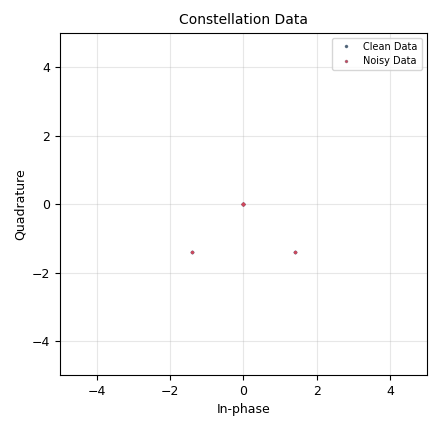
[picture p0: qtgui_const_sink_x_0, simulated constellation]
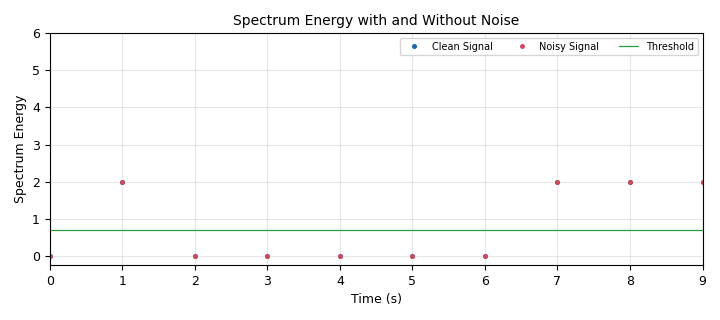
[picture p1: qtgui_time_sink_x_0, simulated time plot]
options:
  parameters:
    author: Osaze Shears
    generate_options: qt_gui
    id: dfr
    output_language: python
    title: Spectrum Energy
  states: {}

blocks:
- name: noise_level
  id: variable_qtgui_range
  parameters:
    comment: Noise Level Slider
    gui_hint: 0,0
    label: Noise Level
    start: '0'
    step: '0.01'
    stop: '5'
    value: '0'
  states: {}
- name: qpsk_constellation
  id: variable_constellation
  parameters:
    comment: QPSK Constellation
    const_points: '[-1-1j, -1+1j, 1+1j, 1-1j, 0,0,0,0]'
    dims: '1'
    normalization: digital.constellation.AMPLITUDE_NORMALIZATION
    precision: '8'
    rot_sym: '4'
    sym_map: '[0, 1, 3, 2, 4,5,6,7]'
    type: calcdist
  states: {}
- name: samp_rate
  id: variable
  parameters:
    value: '1'
  states: {}
- name: analog_const_source_x_0
  id: analog_const_source_x
  parameters:
    comment: Draw Threshold on the Time Sink
    const: '0.705'
    type: float
  states: {}
- name: analog_noise_source_x_0
  id: analog_noise_source_x
  parameters:
    amp: noise_level
    comment: Additive White Gaussian Noise (AWGN)
    noise_type: analog.GR_GAUSSIAN
    seed: '0'
    type: complex
  states: {}
- name: analog_random_source_x_0
  id: analog_random_source_x
  parameters:
    comment: 50/50 Chance of Data Transmission
    max: '8'
    min: '0'
    num_samps: '1000'
    repeat: 'True'
    type: byte
  states: {}
- name: blocks_add_xx_0
  id: blocks_add_xx
  parameters:
    comment: Add AWGN to Data Data
    type: complex
  states: {}
- name: digital_constellation_encoder_bc_1
  id: digital_constellation_encoder_bc
  parameters:
    comment: QPSK Modulator
    constellation: qpsk_constellation
  states: {}
- name: epy_block_1
  id: epy_block
  parameters:
    _source_code: "\"\"\"\nEmbedded Python Blocks:\n\nEach time this file is saved, GRC will instantiate the first class it finds\nto get ports and parameters of your block. The arguments to __init__  will\nbe the parameters. All of them are required to have default values!\n\"\"\"\n\nimport numpy as np\nfrom gnuradio import gr\n\n\nclass blk(gr.sync_block):  # other base classes are basic_block, decim_block, interp_block\n    \"\"\"Spectrum Energy - Record Spectrum Energy\"\"\"\n\n    def __init__(self):  # only default arguments here\n        \"\"\"arguments to this function show up as parameters in GRC\"\"\"\n        gr.sync_block.__init__(\n            self,\n            name='Spectrum Energy Block',   # will show up in GRC\n            in_sig=[np.complex64],\n            out_sig=[np.float32]\n        )\n        \n\n        \n\n    def work(self, input_items, output_items):\n        \"\"\"example: multiply with constant\"\"\"\n\n        i_data_norm = np.real(input_items[0])\n        q_data_norm = np.imag(input_items[0])\n        x = np.sqrt(np.power(i_data_norm,2) + np.power(q_data_norm,2))\n        output_items[0][:] = x\n\n        return len(output_items[0])\n\n"
    comment: Calculate Spectrum Energy for Noisy Sample
  states: {}
- name: epy_block_1_0
  id: epy_block
  parameters:
    _source_code: "\"\"\"\nEmbedded Python Blocks:\n\nEach time this file is saved, GRC will instantiate the first class it finds\nto get ports and parameters of your block. The arguments to __init__  will\nbe the parameters. All of them are required to have default values!\n\"\"\"\n\nimport numpy as np\nfrom gnuradio import gr\n\n\nclass blk(gr.sync_block):  # other base classes are basic_block, decim_block, interp_block\n    \"\"\"Spectrum Energy - Record Spectrum Energy\"\"\"\n\n    def __init__(self):  # only default arguments here\n        \"\"\"arguments to this function show up as parameters in GRC\"\"\"\n        gr.sync_block.__init__(\n            self,\n            name='Spectrum Energy Block',   # will show up in GRC\n            in_sig=[np.complex64],\n            out_sig=[np.float32]\n        )\n        \n\n        \n\n    def work(self, input_items, output_items):\n        \"\"\"example: multiply with constant\"\"\"\n\n        i_data_norm = np.real(input_items[0])\n        q_data_norm = np.imag(input_items[0])\n        x = np.sqrt(np.power(i_data_norm,2) + np.power(q_data_norm,2))\n        output_items[0][:] = x\n\n        return len(output_items[0])\n\n"
    comment: Calculate Spectrum Energy for Clean Sample
  states: {}
- name: qtgui_const_sink_x_0
  id: qtgui_const_sink_x
  parameters:
    comment: Display Constellation Data
    gui_hint: 1,0
    label1: Clean Data
    label2: Noisy Data
    marker2: '2'
    name: Constellation Data
    nconnections: '2'
    size: '10'
    type: complex
    update_time: '3'
    xmax: '5'
    xmin: '-5'
    ymax: '5'
    ymin: '-5'
  states: {}
- name: qtgui_time_sink_x_0
  id: qtgui_time_sink_x
  parameters:
    comment: Display Spectrum Energy Before and After Noise
    label1: Clean Signal
    label2: Noisy Signal
    label3: Threshold
    marker1: '0'
    marker2: '2'
    name: Spectrum Energy with and Without Noise
    nconnections: '3'
    size: '10'
    srate: samp_rate
    style1: '0'
    style2: '0'
    style3: '2'
    type: float
    update_time: '3'
    width1: '3'
    width2: '3'
    width3: '3'
    ylabel: Spectrum Energy
    ymax: '6'
    ymin: '0'
  states: {}

connections:
- [analog_const_source_x_0, '0', qtgui_time_sink_x_0, '2']
- [analog_noise_source_x_0, '0', blocks_add_xx_0, '1']
- [analog_random_source_x_0, '0', digital_constellation_encoder_bc_1, '0']
- [blocks_add_xx_0, '0', epy_block_1, '0']
- [blocks_add_xx_0, '0', qtgui_const_sink_x_0, '1']
- [digital_constellation_encoder_bc_1, '0', blocks_add_xx_0, '0']
- [digital_constellation_encoder_bc_1, '0', epy_block_1_0, '0']
- [digital_constellation_encoder_bc_1, '0', qtgui_const_sink_x_0, '0']
- [epy_block_1, '0', qtgui_time_sink_x_0, '1']
- [epy_block_1_0, '0', qtgui_time_sink_x_0, '0']

metadata:
  file_format: 1
